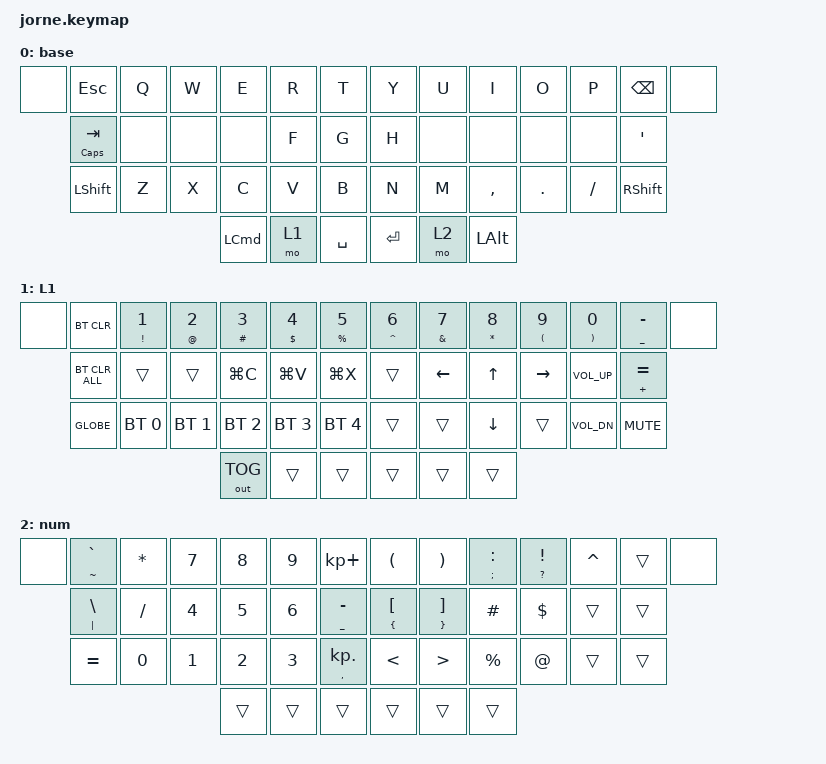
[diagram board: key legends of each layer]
/*
 * Copyright (c) 2020 The ZMK Contributors
 *
 * SPDX-License-Identifier: MIT
 */

#include <behaviors.dtsi>
#include <dt-bindings/zmk/bt.h>
#include <dt-bindings/zmk/keys.h>
#include <dt-bindings/zmk/outputs.h>

/ {
    combos { compatible = "zmk,combos"; };

    keymap {
        compatible = "zmk,keymap";

        base {
            // Jorne: 44 keys (positions 0 and 13 are extra outer keys, not present physically)
            // -----------------------------------------------------------------------------------------
            // | x |  ESC |  Q  |  W  |  E  |  R  |  T  |   |  Y  |  U   |  I  |  O  |  P  | BKSP | x |
            //     | TAB  |  A  |  S  |  D  |  F  |  G  |   |  H  |  J   |  K  |  L  |  '  |  '   |
            //     | SHFT |  Z  |  X  |  C  |  V  |  B  |   |  N  |  M   |  ,  |  .  |  /  | SHFT |
            //                        | GUI | LWR | SPC |   | ENT | RSE  | ALT |

            bindings = <
&none  &kp ESC           &kp Q  &kp W  &kp E             &kp R  &kp T        &kp Y      &kp U  &kp I         &kp O    &kp P     &kp BACKSPACE     &none
       &mt CAPSLOCK TAB  &none  &none  &none             &kp F  &kp G        &kp H      &none  &none         &none    &none     &kp SINGLE_QUOTE
       &kp LEFT_SHIFT    &kp Z  &kp X  &kp C             &kp V  &kp B        &kp N      &kp M  &kp COMMA     &kp DOT  &kp FSLH  &kp RIGHT_SHIFT
                                       &kp LEFT_COMMAND  &mo 1  &kp SPACE    &kp ENTER  &mo 2  &kp LEFT_ALT
            >;
        };

        L1 {
            bindings = <
&none  &bt BT_CLR      &mt EXCLAMATION NUMBER_1  &mt AT_SIGN NUMBER_2  &mt POUND NUMBER_3  &mt DOLLAR NUMBER_4  &mt PERCENT NUMBER_5    &mt CARET NUMBER_6  &mt AMPERSAND NUMBER_7  &mt ASTERISK NUMBER_8  &mt LEFT_PARENTHESIS NUMBER_9  &mt RIGHT_PARENTHESIS NUMBER_0  &mt UNDERSCORE MINUS  &none
       &bt BT_CLR_ALL  &trans                    &trans                &kp LG(C)           &kp LG(V)            &kp LG(X)               &trans              &kp LEFT_ARROW          &kp UP_ARROW           &kp RIGHT_ARROW                &kp C_VOLUME_UP                 &mt PLUS EQUAL
       &kp GLOBE       &bt BT_SEL 0              &bt BT_SEL 1          &bt BT_SEL 2        &bt BT_SEL 3         &bt BT_SEL 4            &trans              &trans                  &kp DOWN_ARROW         &trans                         &kp C_VOL_DN                    &kp K_MUTE
                                                                       &out OUT_TOG        &trans               &trans                  &trans              &trans                  &trans
            >;
        };

        num {
            bindings = <
&none  &mt TILDE GRAVE  &kp ASTERISK  &kp N7  &kp N8  &kp N9  &kp KP_PLUS             &kp LEFT_PARENTHESIS         &kp RIGHT_PARENTHESIS          &mt SEMICOLON COLON  &mt QUESTION EXCLAMATION  &kp CARET  &trans  &none
       &mt PIPE BSLH    &kp SLASH     &kp N4  &kp N5  &kp N6  &mt UNDERSCORE MINUS    &mt LEFT_BRACE LEFT_BRACKET  &mt RIGHT_BRACE RIGHT_BRACKET  &kp HASH             &kp DOLLAR                &trans     &trans
       &kp EQUAL        &kp NUMBER_0  &kp N1  &kp N2  &kp N3  &mt COMMA KP_DOT        &kp LESS_THAN                &kp GREATER_THAN               &kp PERCENT          &kp AT_SIGN               &trans     &trans
                                              &trans  &trans  &trans                  &trans                       &trans                         &trans
            >;
        };
    };
};
